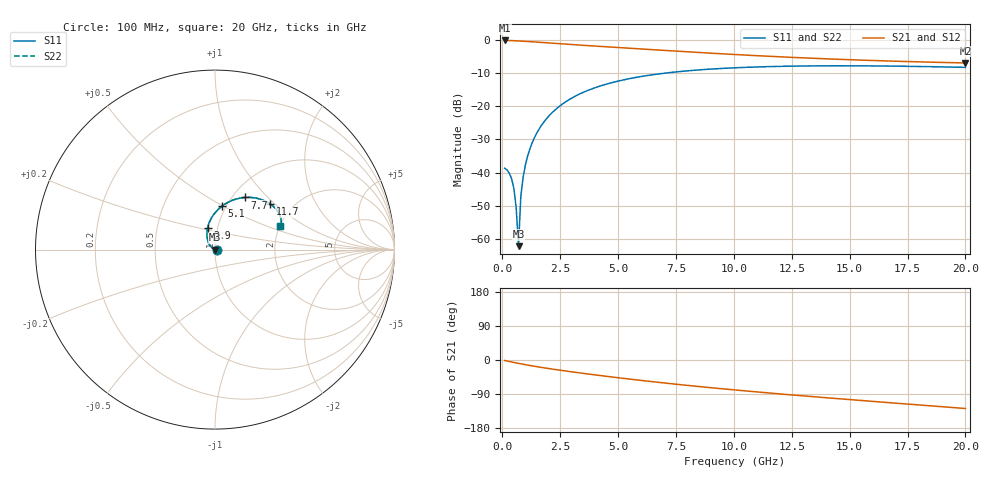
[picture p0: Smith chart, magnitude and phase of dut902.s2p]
! Touchstone file exported from HFSS 2024.1.0
!  File:  C:/UserFiles/LocalFiles/RDL_TSV_Batchsim/temp_RDL_TSV_902_1779953739.aedt
!  Generated:  03:51:08 PM May 28, 2026
!  Design:  RDL_TSV
!  Project:  temp_RDL_TSV_902_1779953739
!  Setup:  Setup1
!  Solution:  Sweep
! Variables:
!  dtsv = 14.9um
!  hbump = 3um
!  htsv = 51.48um
!  ldown = 267.38um
!  lrdl = 226.59um
!  p = 40
!  p1 = 57.94um
!  rhole = 10um
!  subl = 1708.5um
!  t = 450um
!  tdown = 3.77um
!  trdl = 2.71um
!  viad = 10um
!  wdown = 17.88um
!  wrdl = 16.42um
!  xbump = 18um
# GHz S MA R 50.000000
! Terminal data exported
! Port[1] = TM1_1_T1
! Port[2] = TM1_4_T1
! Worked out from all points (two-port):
!   200 points, 100 MHz to 20 GHz, reference 50 ohm
!   highest |S21| = -0.11 dB at 100 MHz (marker M1); lowest = -6.9 dB at 20 GHz (marker M2)
!   |S21| within 3 dB of the highest: start of sweep to 6.986 GHz
!   lowest |S11| = -62.3 dB at 700 MHz (marker M3), VSWR 1.00, Z = 49.9 - j0.0419 ohm
!   |S11| at or under -10 dB: start of sweep to 7.001 GHz
!   |S22| runs from -62.2 to -7.8 dB; largest |S21 - S12| = 1e-14
!   S11 on the Smith chart (normalised r, x): 100 MHz: 1.02, -0.00; 2.9 GHz: 0.89, +0.22; 5.1 GHz: 0.96, +0.49; 7.7 GHz: 1.14, +0.75; 11.7 GHz: 1.55, +0.93; 20 GHz: 2.02, +0.62
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0.1  0.01163 -2.4  0.9877 -1.3  0.9877 -1.3  0.01163 -2.4
! Gamma 0 0 0 0
! Port Impedance 50 0 50 0
0.3  0.009814 -8.6  0.9845 -3.9  0.9845 -3.9  0.009814 -8.6
0.4  0.008073 -12.6  0.9819 -5.2  0.9819 -5.2  0.008073 -12.6
0.5  0.005765 -17.8  0.9789 -6.5  0.9789 -6.5  0.005765 -17.8
0.6  0.002939 -27.0  0.9754 -7.7  0.9754 -7.7  0.002939 -27.0
0.7  0.0007714 -147.1  0.9715 -8.9  0.9715 -8.9  0.000772 -147.1
0.8  0.004333 166.2  0.9672 -10.1  0.9672 -10.1  0.004334 166.2
0.9  0.00853 159.0  0.9627 -11.2  0.9627 -11.2  0.008531 159.0
1  0.0131 154.5  0.9579 -12.4  0.9579 -12.4  0.0131 154.5
1.2  0.02318 147.4  0.9478 -14.6  0.9478 -14.6  0.02318 147.4
1.5  0.04002 138.6  0.9319 -17.7  0.9319 -17.7  0.04002 138.6
1.9  0.06438 128.6  0.9105 -21.6  0.9105 -21.6  0.06439 128.6
2.9  0.1271 109.1  0.8609 -30.4  0.8609 -30.4  0.1271 109.1
3.5  0.1627 99.9  0.8341 -35.3  0.8341 -35.3  0.1627 99.9
5.1  0.2448 81.0  0.7687 -47.5  0.7687 -47.5  0.2448 81.0
6.8  0.3099 66.2  0.7057 -59.3  0.7057 -59.3  0.3099 66.2
7.7  0.336 59.9  0.6751 -65.2  0.6751 -65.2  0.336 59.9
10.1  0.3826 46.3  0.6041 -79.4  0.6041 -79.4  0.3826 46.3
11.7  0.3992 39.4  0.5654 -88.0  0.5654 -88.0  0.3992 39.4
13.4  0.4077 33.3  0.5314 -96.7  0.5314 -96.7  0.4077 33.4
16.7  0.4053 24.8  0.4829 -112.6  0.4829 -112.6  0.4053 24.8
20  0.3874 19.8  0.4517 -128.0  0.4517 -128.0  0.3874 19.8
